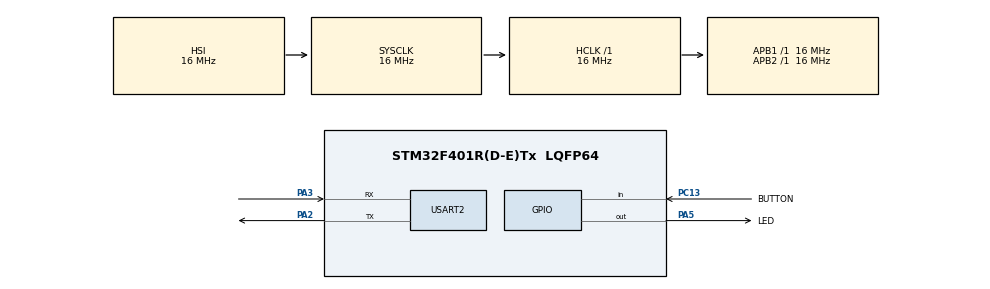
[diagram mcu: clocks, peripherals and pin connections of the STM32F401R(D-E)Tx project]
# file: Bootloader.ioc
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Dma.Request0=USART2_TX
Dma.Request1=USART2_RX
Dma.USART2_RX.1.Direction=DMA_PERIPH_TO_MEMORY
Dma.USART2_RX.1.FIFOMode=DMA_FIFOMODE_DISABLE
Dma.USART2_RX.1.Instance=DMA1_Stream5
Dma.USART2_RX.1.MemDataAlignment=DMA_MDATAALIGN_BYTE
Dma.USART2_RX.1.MemInc=DMA_MINC_ENABLE
Dma.USART2_RX.1.Mode=DMA_NORMAL
Dma.USART2_RX.1.PeriphDataAlignment=DMA_PDATAALIGN_BYTE
Dma.USART2_RX.1.PeriphInc=DMA_PINC_DISABLE
Dma.USART2_RX.1.Priority=DMA_PRIORITY_LOW
Dma.USART2_TX.0.Direction=DMA_MEMORY_TO_PERIPH
Dma.USART2_TX.0.FIFOMode=DMA_FIFOMODE_DISABLE
Dma.USART2_TX.0.Instance=DMA1_Stream6
Dma.USART2_TX.0.MemDataAlignment=DMA_MDATAALIGN_BYTE
Dma.USART2_TX.0.MemInc=DMA_MINC_ENABLE
Dma.USART2_TX.0.Mode=DMA_NORMAL
Dma.USART2_TX.0.PeriphDataAlignment=DMA_PDATAALIGN_BYTE
Dma.USART2_TX.0.PeriphInc=DMA_PINC_DISABLE
Dma.USART2_TX.0.Priority=DMA_PRIORITY_LOW
Mcu.Family=STM32F4
Mcu.Name=STM32F401R(D-E)Tx
Mcu.Package=LQFP64
NVIC.DMA1_Stream5_IRQn=true\:0\:0\:false\:false\:true\:false\:true
NVIC.DMA1_Stream6_IRQn=true\:0\:0\:false\:false\:true\:false\:true
NVIC.PriorityGroup=NVIC_PRIORITYGROUP_4
NVIC.USART2_IRQn=true\:0\:0\:false\:false\:true\:true\:true
PA2.Mode=Asynchronous
PA2.Signal=USART2_TX
PA3.Mode=Asynchronous
PA3.Signal=USART2_RX
PA5.GPIO_Label=LED
PA5.Signal=GPIO_Output
PC13-ANTI_TAMP.GPIO_Label=BUTTON
PC13-ANTI_TAMP.Signal=GPIO_Input
ProjectManager.HeapSize=0x200
ProjectManager.StackSize=0x400
ProjectManager.TargetToolchain=STM32CubeIDE
RCC.AHBFreq_Value=16000000
RCC.APB1Freq_Value=16000000
RCC.APB2Freq_Value=16000000
RCC.CortexFreq_Value=16000000
RCC.HSE_VALUE=25000000
RCC.HSI_VALUE=16000000
RCC.LSE_VALUE=32768
RCC.SYSCLKFreq_VALUE=16000000
RCC.VCOOutputFreq_Value=192000000
USART2.VirtualMode=VM_ASYNC
board=custom

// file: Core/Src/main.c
/* USER CODE BEGIN Header */
/**
 ******************************************************************************
 * @file                     : main.c
 * @brief                    : Main program body
 ******************************************************************************
 * @attention
 *
 * <h2><center>&copy; Copyright (c) 2020 STMicroelectronics.
 * All rights reserved.</center></h2>
 *
 * This software component is licensed by ST under BSD 3-Clause license,
 * the "License"; You may not use this file except in compliance with the
 * License. You may obtain a copy of the License at:
 *                                                opensource.org/licenses/BSD-3-Clause
 *
 ******************************************************************************
 */
/* USER CODE END Header */
#include "main.h"

/* USER CODE BEGIN Includes */
# include <string.h>
# include <stdio.h>
# include <stdarg.h>

# include "Crypto/crypto_hash_sha256.h"
# include "Crypto/crypto_sign.h"
/* USER CODE END Includes */

/* USER CODE BEGIN PD */
# define SUINT32                sizeof(uint32_t)
# define DMA_BUFFER_SIZE        0x1000
# define PUBLIC_KEY_SIZE        crypto_sign_PUBLICKEYBYTES
# define PRIVATE_KEY_SIZE       crypto_sign_SECRETKEYBYTES
# define HASH_SIZE              crypto_hash_sha256_BYTES
# define SIGN_SIZE              crypto_sign_BYTES

# define PROGRAM_BASE           0x8040000    // sector 6 and 7
# define PROGRAM_SIZE_ADDRESS   (PROGRAM_BASE)
# define PROGRAM_SIGN_ADDRESS   (PROGRAM_SIZE_ADDRESS + SUINT32)
# define PROGRAM_FLASH          0x8040200
/* USER CODE END PD */

UART_HandleTypeDef huart2;
DMA_HandleTypeDef hdma_usart2_tx;
DMA_HandleTypeDef hdma_usart2_rx;

void SystemClock_Config(void);
static void MX_GPIO_Init(void);
static void MX_DMA_Init(void);
static void MX_USART2_UART_Init(void);

/* USER CODE BEGIN 0 */
enum TX_ERR
{
    NO_ERR,
    ASSERT_ERR,
    DMA_ERROR,
    CORRUPT,
    WRONG_SIGN,
    INVALID_PROGRAM,
};

int dma_sent = 0;
void HAL_UART_TxCpltCallback(UART_HandleTypeDef *huart)
{
    dma_sent = 1;
}

const unsigned char seed[32] = "abcdefghijklmnopqrstuvwxyz012345";
unsigned char public_key[PUBLIC_KEY_SIZE];
unsigned char private_key[PRIVATE_KEY_SIZE];

// LEN, OP, ERR, ARGS..., HASH
unsigned char tx[1024];

unsigned char dma1[DMA_BUFFER_SIZE];
unsigned char dma2[DMA_BUFFER_SIZE];

/// Current dma buffer
unsigned char *buff = dma2;
/// Previous dma buffer (received)
unsigned char *prev = NULL;

unsigned program_flash;

int dma_received = 0;
void HAL_UART_RxCpltCallback(UART_HandleTypeDef *huart)
{
    dma_received = 1;
}

void send_dma(const int err, const char *format, ...)
{
    if (format)
    {
        va_list va;
        va_start(va, format);
        tx[0] = vsnprintf((char*) tx + 3, 1000, format, va);
        va_end(va);
    }
    else
        tx[0] = 0;

    tx[1] = 0;
    tx[2] = err;
    tx[3 + tx[0]] = 0;    // won't bother with checksum, not really important

    HAL_UART_Transmit_DMA(&huart2, tx, 3 + tx[0] + 1);
}

void send_dma_blocking(const int err, const char *format, ...)
{
    if (format)
    {
        va_list va;
        va_start(va, format);
        tx[0] = vsnprintf((char*) tx + 3, 1000, format, va);
        va_end(va);
    }
    else
        tx[0] = 0;

    dma_sent = 0;

    tx[1] = 0;
    tx[2] = err;
    tx[3 + tx[0]] = 0;    // won't bother with checksum, not really important

    HAL_UART_Transmit_DMA(&huart2, tx, 3 + tx[0] + 1);

    while (dma_sent == 0)
        ;
}

void send_error(const int err)
{
    dma_sent = 0;

    tx[0] = 0;
    tx[1] = 0;
    tx[2] = err;
    tx[3 + tx[0]] = 0;    // won't bother with checksum, not really important

    HAL_UART_Transmit_DMA(&huart2, tx, 3 + tx[0] + 1);

    while (dma_sent == 0)
        ;
}

int process_dma_program(struct crypto_hash_sha256_state *hash, unsigned char *buff,
                        const unsigned size)
{
    if (buff)
    {
        crypto_hash_sha256_update(hash, buff, size);

        const uint32_t* b = (uint32_t*) buff;
        const unsigned s = size / SUINT32 + (size % SUINT32 != 0);
        for (int i = 0; i < s; i++)
            if (HAL_FLASH_Program(FLASH_TYPEPROGRAM_WORD, program_flash + i * SUINT32, b[i]) != HAL_OK)
            {
                send_error(DMA_ERROR);
                return 1;
            }

        program_flash += size;
    }

    return 0;
}

int dma_timeout(unsigned ms)
{
    if (ms == 0)
        return 0;

    const uint32_t t = HAL_GetTick();
    while (dma_received == 0)
        if (HAL_GetTick() - t > ms)
        {
            HAL_UART_Abort(&huart2);
            send_error(DMA_ERROR);
            return 1;
        }

    return 0;
}

int receive_dma_program(struct crypto_hash_sha256_state *hash,
                         const int buff_size, const int process)
{
    dma_received = 0;

    if (HAL_UART_Receive_DMA(&huart2, buff, buff_size) != HAL_OK)
    {
        send_error(DMA_ERROR);
        return 1;
    }

    if (process)
        if (process_dma_program(hash, prev, DMA_BUFFER_SIZE))
            return 1;

    HAL_GPIO_TogglePin(LED_GPIO_Port, LED_Pin);

    // switch buffer
    prev = buff;
    buff = (buff == dma1 ? dma2 : dma1);

    // DMA finished while we were processing and it's a middle of message
    if (dma_received == 1)
    {
        send_error(DMA_ERROR);
        return 1;
    }

    if (dma_timeout(DMA_BUFFER_SIZE))
        return 1;

    return 0;
}

void assert(const char *code, const char *file, const int line, const int err)
{
    if (err)
    {
        tx[0] = sprintf((char*) tx + 3, "assertion \"%s\" failed: file \"%s\", line %d", code, file, line);
        tx[1] = 0;
        tx[2] = ASSERT_ERR;
        tx[3 + tx[0]] = 0;    // won't bother with checksum, not really important

        HAL_UART_Transmit_DMA(&huart2, tx, 3 + tx[0] + 1);

        while (1)
            ;
    }
}

unsigned char get_hex(unsigned char i, const int part)
{
    i = part ? i % 16 : i / 16;

    return i < 10 ? '0' + i : 'A' + i - 10;
}

void send_hex(const unsigned char *buff, const unsigned len)
{
    char b[2 * len + 1];
    for (unsigned i = 0; i < len; i++)
    {
        b[2 * i] = get_hex(buff[i], 0);
        b[2 * i + 1] = get_hex(buff[i], 1);
    }
    b[2 * len] = '\0';
    send_dma_blocking(NO_ERR, b);
}

int launch_program()
{
    const uint32_t size = *(volatile uint32_t*) PROGRAM_SIZE_ADDRESS;
    unsigned char *crypted_hash = (unsigned char*) PROGRAM_SIGN_ADDRESS;

    unsigned char hash[HASH_SIZE];
    crypto_hash_sha256(hash, (unsigned char*) PROGRAM_FLASH, size);

    // check the validity of the program in flash
    if (crypto_sign_verify_detached(crypted_hash, hash, HASH_SIZE, public_key))
        return 1;

    // Deactivate interruptions
//    __disable_irq();

    // Deinit peripherals
/*
    HAL_UART_DeInit(&huart2);
    __HAL_RCC_USART2_CLK_DISABLE();
    __HAL_RCC_USART2_FORCE_RESET();
    __HAL_RCC_USART2_RELEASE_RESET();
    __HAL_RCC_DMA1_CLK_DISABLE();

    HAL_GPIO_DeInit(LED_GPIO_Port, LED_Pin);
    __HAL_RCC_GPIOA_CLK_DISABLE();
*/

    // Set Interruption Table (VTOR)
    SCB->VTOR = (uint32_t) PROGRAM_FLASH;

    // Set reset handler (address is 5-8 bytes of the program)
    const volatile uint32_t pc = *(volatile uint32_t*) (PROGRAM_FLASH + 4);
    void (*program)(void) = (void (*)(void)) pc;

    // Set stack pointer (address is 1-4 bytes of the program)
    const volatile uint32_t sp = *(volatile uint32_t*) (PROGRAM_FLASH);

//    __HAL_SYSCFG_REMAPMEMORY_SYSTEMFLASH();

    __set_MSP(sp);

//    __disable_irq();
//    HAL_DeInit();
    // Jump on the program
    program();

    // Reinit handlers
    MX_GPIO_Init();
    MX_DMA_Init();
    MX_USART2_UART_Init();
    __enable_irq();

    return 0;
}
/* USER CODE END 0 */

int main(void)
{

  /* MCU Configuration--------------------------------------------------------*/

  /* Reset of all peripherals, Initializes the Flash interface and the Systick. */
  HAL_Init();

  /* Configure the system clock */
  SystemClock_Config();

  /* Initialize all configured peripherals */
  MX_GPIO_Init();
  MX_DMA_Init();
  MX_USART2_UART_Init();
  /* USER CODE BEGIN 2 */
    crypto_sign_seed_keypair(public_key, private_key, seed);
    send_dma_blocking(NO_ERR, "Begin");
    HAL_Delay(500);
  /* USER CODE END 2 */

  /* Infinite loop */
  /* USER CODE BEGIN WHILE */
    while (1)
    {
        const int launch = HAL_GPIO_ReadPin(BUTTON_GPIO_Port, BUTTON_Pin);
        if (launch && launch_program())
            send_error(INVALID_PROGRAM);

        program_flash = PROGRAM_FLASH;

        HAL_FLASH_Unlock();

        // FLASH size : 16 (0), 16, 16, 16, 64, 128, 128, 128 (7)

        // Erase sector 6 and 7 (256 KB), should be enough
        FLASH_Erase_Sector(6, FLASH_VOLTAGE_RANGE_3);
        FLASH_Erase_Sector(7, FLASH_VOLTAGE_RANGE_3);
//        ASSERT( != HAL_OK)
        while (FLASH->SR & FLASH_SR_BSY)
            ;

        crypto_hash_sha256_state hash;
        crypto_hash_sha256_init(&hash);

        // STEP 1: Get size of the program
        uint32_t size;
        dma_received = 0;
        HAL_UART_Receive_DMA(&huart2, (unsigned char*) &size, SUINT32);
        while (dma_received == 0)
            ;

        const uint32_t total_size = size;

        // STEP 2: Receive and write the program
        // untreated data are always in prev
        int failed = 0;
        for (; size > DMA_BUFFER_SIZE; size -= DMA_BUFFER_SIZE)
            if (receive_dma_program(&hash, DMA_BUFFER_SIZE, 1))
            {
                failed = 1;
                break;
            }

        if (failed)
            continue;

        // receive last dma, but don't process anything
        // untreated data are in buff -> prev
        if (receive_dma_program(&hash, size, 0))
            continue;

        HAL_GPIO_WritePin(LED_GPIO_Port, LED_Pin, GPIO_PIN_RESET);

        // STEP 3: Received encrypted hash
        dma_received = 0;
        unsigned char program_crypted_hash[SIGN_SIZE];
        HAL_UART_Receive_DMA(&huart2, program_crypted_hash, SIGN_SIZE);
        if (dma_timeout(SIGN_SIZE))
            continue;

        // STEP 4 : Receive integrity hash
        dma_received = 0;
        unsigned char program_hash[HASH_SIZE];
        HAL_UART_Receive_DMA(&huart2, program_hash, HASH_SIZE);
        if (dma_timeout(HASH_SIZE))
            continue;

        // process 2 last dmas (delayed process to not hinder the reception)
        process_dma_program(&hash, buff, DMA_BUFFER_SIZE);
        process_dma_program(&hash, prev, size);
        HAL_FLASH_Lock();

        unsigned char sha256_hash[HASH_SIZE];
        crypto_hash_sha256_final(&hash, sha256_hash);

        // compare integrity hash
        if (memcmp(sha256_hash, program_hash, HASH_SIZE))
        {
            send_error(CORRUPT);
            continue;
        }

        // decrypt program_crypted_hash with public key
        if (crypto_sign_verify_detached(program_crypted_hash, program_hash,
                                        crypto_sign_PUBLICKEYBYTES, public_key))
        {
            send_error(WRONG_SIGN);
            continue;
        }

        HAL_FLASH_Unlock();
        // write size
        HAL_FLASH_Program(FLASH_TYPEPROGRAM_WORD, PROGRAM_SIZE_ADDRESS,
                          total_size);
        // write crypted hash
        for (unsigned i = 0; i < SIGN_SIZE / SUINT32; i++)
            HAL_FLASH_Program(FLASH_TYPEPROGRAM_WORD, PROGRAM_SIGN_ADDRESS + i * SUINT32,
                              *(uint32_t*) (program_crypted_hash + i * SUINT32));
        HAL_FLASH_Lock();
    /* USER CODE END WHILE */

    }
}

void SystemClock_Config(void)
{
  RCC_OscInitTypeDef RCC_OscInitStruct = {0};
  RCC_ClkInitTypeDef RCC_ClkInitStruct = {0};

  /** Configure the main internal regulator output voltage
  */
  __HAL_RCC_PWR_CLK_ENABLE();
  __HAL_PWR_VOLTAGESCALING_CONFIG(PWR_REGULATOR_VOLTAGE_SCALE2);
  /** Initializes the RCC Oscillators according to the specified parameters
  * in the RCC_OscInitTypeDef structure.
  */
  RCC_OscInitStruct.OscillatorType = RCC_OSCILLATORTYPE_HSI;
  RCC_OscInitStruct.HSIState = RCC_HSI_ON;
  RCC_OscInitStruct.HSICalibrationValue = RCC_HSICALIBRATION_DEFAULT;
  RCC_OscInitStruct.PLL.PLLState = RCC_PLL_NONE;
  if (HAL_RCC_OscConfig(&RCC_OscInitStruct) != HAL_OK)
  {
    Error_Handler();
  }
  /** Initializes the CPU, AHB and APB buses clocks
  */
  RCC_ClkInitStruct.ClockType = RCC_CLOCKTYPE_HCLK|RCC_CLOCKTYPE_SYSCLK
                              |RCC_CLOCKTYPE_PCLK1|RCC_CLOCKTYPE_PCLK2;
  RCC_ClkInitStruct.SYSCLKSource = RCC_SYSCLKSOURCE_HSI;
  RCC_ClkInitStruct.AHBCLKDivider = RCC_SYSCLK_DIV1;
  RCC_ClkInitStruct.APB1CLKDivider = RCC_HCLK_DIV1;
  RCC_ClkInitStruct.APB2CLKDivider = RCC_HCLK_DIV1;

  if (HAL_RCC_ClockConfig(&RCC_ClkInitStruct, FLASH_LATENCY_0) != HAL_OK)
  {
    Error_Handler();
  }
}

static void MX_USART2_UART_Init(void)
{

  huart2.Instance = USART2;
  huart2.Init.BaudRate = 115200;
  huart2.Init.WordLength = UART_WORDLENGTH_8B;
  huart2.Init.StopBits = UART_STOPBITS_1;
  huart2.Init.Parity = UART_PARITY_NONE;
  huart2.Init.Mode = UART_MODE_TX_RX;
  huart2.Init.HwFlowCtl = UART_HWCONTROL_NONE;
  huart2.Init.OverSampling = UART_OVERSAMPLING_16;
  if (HAL_UART_Init(&huart2) != HAL_OK)
  {
    Error_Handler();
  }

}

static void MX_DMA_Init(void)
{

  /* DMA controller clock enable */
  __HAL_RCC_DMA1_CLK_ENABLE();

  /* DMA interrupt init */
  /* DMA1_Stream5_IRQn interrupt configuration */
  HAL_NVIC_SetPriority(DMA1_Stream5_IRQn, 0, 0);
  HAL_NVIC_EnableIRQ(DMA1_Stream5_IRQn);
  /* DMA1_Stream6_IRQn interrupt configuration */
  HAL_NVIC_SetPriority(DMA1_Stream6_IRQn, 0, 0);
  HAL_NVIC_EnableIRQ(DMA1_Stream6_IRQn);

}

static void MX_GPIO_Init(void)
{
  GPIO_InitTypeDef GPIO_InitStruct = {0};

  /* GPIO Ports Clock Enable */
  __HAL_RCC_GPIOC_CLK_ENABLE();
  __HAL_RCC_GPIOA_CLK_ENABLE();

  /*Configure GPIO pin Output Level */
  HAL_GPIO_WritePin(LED_GPIO_Port, LED_Pin, GPIO_PIN_RESET);

  /*Configure GPIO pin : BUTTON_Pin */
  GPIO_InitStruct.Pin = BUTTON_Pin;
  GPIO_InitStruct.Mode = GPIO_MODE_INPUT;
  GPIO_InitStruct.Pull = GPIO_NOPULL;
  HAL_GPIO_Init(BUTTON_GPIO_Port, &GPIO_InitStruct);

  /*Configure GPIO pin : LED_Pin */
  GPIO_InitStruct.Pin = LED_Pin;
  GPIO_InitStruct.Mode = GPIO_MODE_OUTPUT_PP;
  GPIO_InitStruct.Pull = GPIO_NOPULL;
  GPIO_InitStruct.Speed = GPIO_SPEED_FREQ_LOW;
  HAL_GPIO_Init(LED_GPIO_Port, &GPIO_InitStruct);

}

void Error_Handler(void)
{
    __disable_irq();
    while (1)
    {
    }
}

/************************ (C) COPYRIGHT STMicroelectronics *****END OF FILE****/
